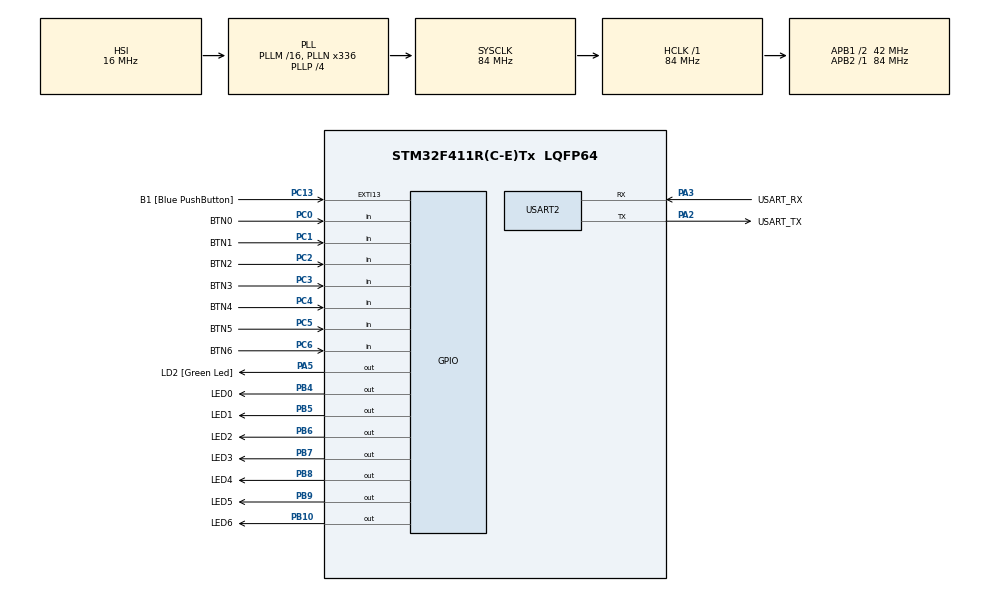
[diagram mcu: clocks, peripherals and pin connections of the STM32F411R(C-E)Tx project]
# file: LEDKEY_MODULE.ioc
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Mcu.Family=STM32F4
Mcu.Name=STM32F411R(C-E)Tx
Mcu.Package=LQFP64
NVIC.PriorityGroup=NVIC_PRIORITYGROUP_0
PA13.GPIO_Label=TMS
PA13.Mode=Serial_Wire
PA13.Signal=SYS_JTMS-SWDIO
PA14.GPIO_Label=TCK
PA14.Mode=Serial_Wire
PA14.Signal=SYS_JTCK-SWCLK
PA2.GPIO_Label=USART_TX
PA2.Mode=Asynchronous
PA2.Signal=USART2_TX
PA3.GPIO_Label=USART_RX
PA3.Mode=Asynchronous
PA3.Signal=USART2_RX
PA5.GPIO_Label=LD2 [Green Led]
PA5.Signal=GPIO_Output
PB10.GPIO_Label=LED6
PB10.Signal=GPIO_Output
PB3.GPIO_Label=SWO
PB3.Signal=SYS_JTDO-SWO
PB4.GPIO_Label=LED0
PB4.Signal=GPIO_Output
PB5.GPIO_Label=LED1
PB5.Signal=GPIO_Output
PB6.GPIO_Label=LED2
PB6.Signal=GPIO_Output
PB7.GPIO_Label=LED3
PB7.Signal=GPIO_Output
PB8.GPIO_Label=LED4
PB8.Signal=GPIO_Output
PB9.GPIO_Label=LED5
PB9.Signal=GPIO_Output
PC0.GPIO_Label=BTN0
PC0.Signal=GPIO_Input
PC1.GPIO_Label=BTN1
PC1.Signal=GPIO_Input
PC13-ANTI_TAMP.GPIO_Label=B1 [Blue PushButton]
PC13-ANTI_TAMP.GPIO_ModeDefaultEXTI=GPIO_MODE_IT_FALLING
PC13-ANTI_TAMP.Signal=GPXTI13
PC14-OSC32_IN.Signal=RCC_OSC32_IN
PC15-OSC32_OUT.Signal=RCC_OSC32_OUT
PC2.GPIO_Label=BTN2
PC2.Signal=GPIO_Input
PC3.GPIO_Label=BTN3
PC3.Signal=GPIO_Input
PC4.GPIO_Label=BTN4
PC4.Signal=GPIO_Input
PC5.GPIO_Label=BTN5
PC5.Signal=GPIO_Input
PC6.GPIO_Label=BTN6
PC6.Signal=GPIO_Input
PH0\ -\ OSC_IN.Signal=RCC_OSC_IN
PH1\ -\ OSC_OUT.Signal=RCC_OSC_OUT
ProjectManager.HeapSize=0x200
ProjectManager.StackSize=0x400
ProjectManager.TargetToolchain=STM32CubeIDE
RCC.48MHZClocksFreq_Value=84000000
RCC.AHBFreq_Value=84000000
RCC.APB1CLKDivider=RCC_HCLK_DIV2
RCC.APB1Freq_Value=42000000
RCC.APB1TimFreq_Value=84000000
RCC.APB2Freq_Value=84000000
RCC.APB2TimFreq_Value=84000000
RCC.CortexFreq_Value=84000000
RCC.FLatency-AdvancedSettings=FLASH_LATENCY_2
RCC.HCLKFreq_Value=84000000
RCC.HSE_VALUE=8000000
RCC.HSI_VALUE=16000000
RCC.PLLN=336
RCC.PLLP=RCC_PLLP_DIV4
RCC.SYSCLKFreq_VALUE=84000000
RCC.SYSCLKSource=RCC_SYSCLKSOURCE_PLLCLK
RCC.VCOOutputFreq_Value=336000000
USART2.VirtualMode=VM_ASYNC
board=NUCLEO-F411RE

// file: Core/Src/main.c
/* USER CODE BEGIN Header */
/**
  ******************************************************************************
  * @file           : main.c
  * @brief          : Main program body
  ******************************************************************************
  * @attention
  *
  * Copyright (c) 2025 STMicroelectronics.
  * All rights reserved.
  *
  * This software is licensed under terms that can be found in the LICENSE file
  * in the root directory of this software component.
  * If no LICENSE file comes with this software, it is provided AS-IS.
  *
  ******************************************************************************
  */
/* USER CODE END Header */
#include "main.h"

/* USER CODE BEGIN Includes */
#include <stdio.h>
/* USER CODE END Includes */

/* USER CODE BEGIN PD */
#define HIGH 1
#define LOW 0
#ifdef __GNUC__
/* With GCC, small printf (option LD Linker->Libraries->Small printf
   set to 'Yes') calls __io_putchar() */
#define PUTCHAR_PROTOTYPE int __io_putchar(int ch)
#else
#define PUTCHAR_PROTOTYPE int fputc(int ch, FILE *f)
#endif /* __GNUC__ */
/* USER CODE END PD */

UART_HandleTypeDef huart2;

void SystemClock_Config(void);
static void MX_GPIO_Init(void);
static void MX_USART2_UART_Init(void);

int main(void)
{

  /* MCU Configuration--------------------------------------------------------*/

  /* Reset of all peripherals, Initializes the Flash interface and the Systick. */
  HAL_Init();

  /* Configure the system clock */
  SystemClock_Config();

  /* Initialize all configured peripherals */
  MX_GPIO_Init();
  MX_USART2_UART_Init();
  /* USER CODE BEGIN 2 */
	int buttonState[7] = {0};
	int buttonStateOld[7] = {0};

	printf("[LEDKEY_MODULE] main() start\r\n");
  /* USER CODE END 2 */

  /* Infinite loop */
  /* USER CODE BEGIN WHILE */
  while (1)
  {

	  for (int i=0; i<7; i++)
	  {
		  GPIOB->BSRR = 0x10 << i;
		  HAL_Delay(50);

	  }

	  for (int i=0; i<7; i++)
	  {
		  GPIOB->BSRR = 0x10 << (16+i);
	      HAL_Delay(50);
	  }

	  for (int i=0; i<7; i++)
	  {
		  buttonState[i] = HAL_GPIO_ReadPin(BTN_GPIO_Port, BTN0_Pin<<i);
		  if (buttonState[i] != buttonStateOld[i])
		  {
		    if (buttonState[i])
		    {
  			  HAL_GPIO_TogglePin(LED_GPIO_Port, LED0_Pin<<i);
    		}
		    buttonStateOld[i] = buttonState[i];
		  }
	  }

    /* USER CODE END WHILE */

  }
}

void SystemClock_Config(void)
{
  RCC_OscInitTypeDef RCC_OscInitStruct = {0};
  RCC_ClkInitTypeDef RCC_ClkInitStruct = {0};

  /** Configure the main internal regulator output voltage
  */
  __HAL_RCC_PWR_CLK_ENABLE();
  __HAL_PWR_VOLTAGESCALING_CONFIG(PWR_REGULATOR_VOLTAGE_SCALE1);

  /** Initializes the RCC Oscillators according to the specified parameters
  * in the RCC_OscInitTypeDef structure.
  */
  RCC_OscInitStruct.OscillatorType = RCC_OSCILLATORTYPE_HSI;
  RCC_OscInitStruct.HSIState = RCC_HSI_ON;
  RCC_OscInitStruct.HSICalibrationValue = RCC_HSICALIBRATION_DEFAULT;
  RCC_OscInitStruct.PLL.PLLState = RCC_PLL_ON;
  RCC_OscInitStruct.PLL.PLLSource = RCC_PLLSOURCE_HSI;
  RCC_OscInitStruct.PLL.PLLM = 16;
  RCC_OscInitStruct.PLL.PLLN = 336;
  RCC_OscInitStruct.PLL.PLLP = RCC_PLLP_DIV4;
  RCC_OscInitStruct.PLL.PLLQ = 4;
  if (HAL_RCC_OscConfig(&RCC_OscInitStruct) != HAL_OK)
  {
    Error_Handler();
  }

  /** Initializes the CPU, AHB and APB buses clocks
  */
  RCC_ClkInitStruct.ClockType = RCC_CLOCKTYPE_HCLK|RCC_CLOCKTYPE_SYSCLK
                              |RCC_CLOCKTYPE_PCLK1|RCC_CLOCKTYPE_PCLK2;
  RCC_ClkInitStruct.SYSCLKSource = RCC_SYSCLKSOURCE_PLLCLK;
  RCC_ClkInitStruct.AHBCLKDivider = RCC_SYSCLK_DIV1;
  RCC_ClkInitStruct.APB1CLKDivider = RCC_HCLK_DIV2;
  RCC_ClkInitStruct.APB2CLKDivider = RCC_HCLK_DIV1;

  if (HAL_RCC_ClockConfig(&RCC_ClkInitStruct, FLASH_LATENCY_2) != HAL_OK)
  {
    Error_Handler();
  }
}

static void MX_USART2_UART_Init(void)
{

  huart2.Instance = USART2;
  huart2.Init.BaudRate = 115200;
  huart2.Init.WordLength = UART_WORDLENGTH_8B;
  huart2.Init.StopBits = UART_STOPBITS_1;
  huart2.Init.Parity = UART_PARITY_NONE;
  huart2.Init.Mode = UART_MODE_TX_RX;
  huart2.Init.HwFlowCtl = UART_HWCONTROL_NONE;
  huart2.Init.OverSampling = UART_OVERSAMPLING_16;
  if (HAL_UART_Init(&huart2) != HAL_OK)
  {
    Error_Handler();
  }

}

static void MX_GPIO_Init(void)
{
  GPIO_InitTypeDef GPIO_InitStruct = {0};

  /* GPIO Ports Clock Enable */
  __HAL_RCC_GPIOC_CLK_ENABLE();
  __HAL_RCC_GPIOH_CLK_ENABLE();
  __HAL_RCC_GPIOA_CLK_ENABLE();
  __HAL_RCC_GPIOB_CLK_ENABLE();

  /*Configure GPIO pin Output Level */
  HAL_GPIO_WritePin(LD2_GPIO_Port, LD2_Pin, GPIO_PIN_RESET);

  /*Configure GPIO pin Output Level */
  HAL_GPIO_WritePin(GPIOB, LED6_Pin|LED0_Pin|LED1_Pin|LED2_Pin
                          |LED3_Pin|LED4_Pin|LED5_Pin, GPIO_PIN_RESET);

  /*Configure GPIO pin : B1_Pin */
  GPIO_InitStruct.Pin = B1_Pin;
  GPIO_InitStruct.Mode = GPIO_MODE_IT_FALLING;
  GPIO_InitStruct.Pull = GPIO_NOPULL;
  HAL_GPIO_Init(B1_GPIO_Port, &GPIO_InitStruct);

  /*Configure GPIO pins : BTN0_Pin BTN1_Pin BTN2_Pin BTN3_Pin
                           BTN4_Pin BTN5_Pin BTN6_Pin */
  GPIO_InitStruct.Pin = BTN0_Pin|BTN1_Pin|BTN2_Pin|BTN3_Pin
                          |BTN4_Pin|BTN5_Pin|BTN6_Pin;
  GPIO_InitStruct.Mode = GPIO_MODE_INPUT;
  GPIO_InitStruct.Pull = GPIO_NOPULL;
  HAL_GPIO_Init(GPIOC, &GPIO_InitStruct);

  /*Configure GPIO pin : LD2_Pin */
  GPIO_InitStruct.Pin = LD2_Pin;
  GPIO_InitStruct.Mode = GPIO_MODE_OUTPUT_PP;
  GPIO_InitStruct.Pull = GPIO_NOPULL;
  GPIO_InitStruct.Speed = GPIO_SPEED_FREQ_LOW;
  HAL_GPIO_Init(LD2_GPIO_Port, &GPIO_InitStruct);

  /*Configure GPIO pins : LED6_Pin LED0_Pin LED1_Pin LED2_Pin
                           LED3_Pin LED4_Pin LED5_Pin */
  GPIO_InitStruct.Pin = LED6_Pin|LED0_Pin|LED1_Pin|LED2_Pin
                          |LED3_Pin|LED4_Pin|LED5_Pin;
  GPIO_InitStruct.Mode = GPIO_MODE_OUTPUT_PP;
  GPIO_InitStruct.Pull = GPIO_NOPULL;
  GPIO_InitStruct.Speed = GPIO_SPEED_FREQ_LOW;
  HAL_GPIO_Init(GPIOB, &GPIO_InitStruct);

}

/* USER CODE BEGIN 4 */
PUTCHAR_PROTOTYPE
{
  /* Place your implementation of fputc here */
  /* e.g. write a character to the USART6 and Loop until the end of transmission */
  HAL_UART_Transmit(&huart2, (uint8_t *)&ch, 1, 0xFFFF);

  return ch;
}
/* USER CODE END 4 */

void Error_Handler(void)
{
  __disable_irq();
  while (1)
  {
  }
}
